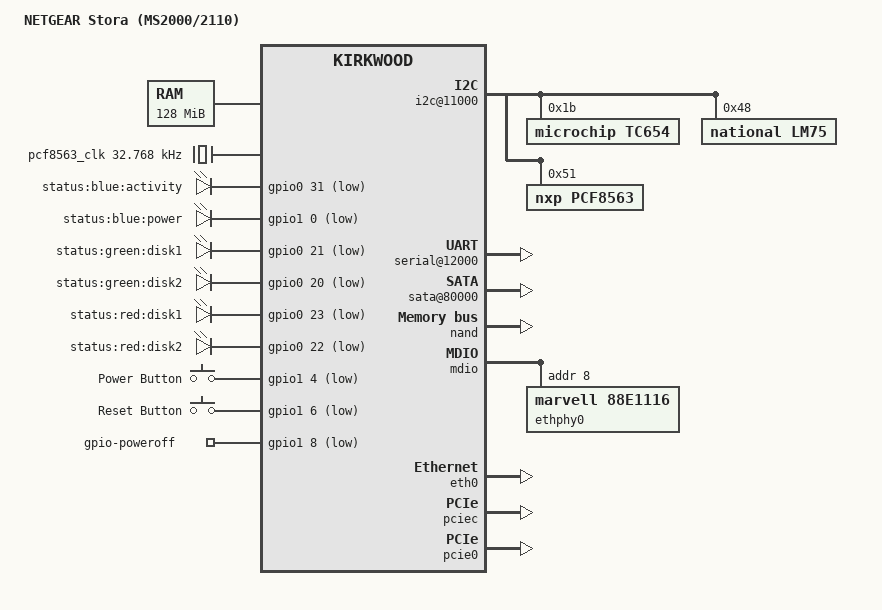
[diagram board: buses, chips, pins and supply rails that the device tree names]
/*
 * SPDX-License-Identifier: GPL-2.0-or-later
 *
 * Device tree file for the NETGEAR Stora MS2000 / MS2110 box.
 *
 * Copyright (c) 2016-2017, bodhi <mibodhi@gmail.com>
 * Copyright (c) 2021. Konstantin Ozerkov <ozerkovk@gmail.com>
 */

/dts-v1/;

#include "kirkwood.dtsi"
#include "kirkwood-6281.dtsi"

/ {
	model = "NETGEAR Stora (MS2000/2110)";
	compatible = "netgear,stora", "netgear,ms2000", "netgear,ms2110", "marvell,kirkwood-88f6281", "marvell,kirkwood";

	memory { /* 128 MB */
		device_type = "memory";
		reg = <0x00000000 0x8000000>;
	};

	chosen {
		bootargs = "console=ttyS0,115200n8 earlyprintk";
		stdout-path = &uart0;
	};

	ocp@f1000000 {
		pinctrl: pin-controller@10000 {
			pmx_button_power: pmx-button-power {
				marvell,pins = "mpp36";
				marvell,function = "gpio";
			};

			pmx_button_reset: pmx-button-reset {
				marvell,pins = "mpp38";
				marvell,function = "gpio";
			};

			pmx_led_blue_activity: pmx-led-blue-activity {
				marvell,pins = "mpp31";
				marvell,function = "gpio";
			};

			pmx_led_blue_power: pmx-led-blue-power {
				marvell,pins = "mpp32";
				marvell,function = "gpio";
			};

			pmx_led_green_disk1: pmx-led-green-disk1 {
				marvell,pins = "mpp21";
				marvell,function = "gpio";
			};

			pmx_led_green_disk2: pmx-led-green-disk2 {
				marvell,pins = "mpp20";
				marvell,function = "gpio";
			};

			pmx_led_red_disk1: pmx-led-red-disk1 {
				marvell,pins = "mpp23";
				marvell,function = "gpio";
			};

			pmx_led_red_disk2: pmx-led-red-disk2 {
				marvell,pins = "mpp22";
				marvell,function = "gpio";
			};

			pmx_poweroff: pmx-poweroff {
				marvell,pins = "mpp40";
				marvell,function = "gpio";
			};

			pmx_fan_tacho: pmx-fan-tacho {
				marvell,pins = "mpp41";
				marvell,function = "gpio";
			};
		};

		clocks {
			pcf8563_clk: pcf8563-oscillator {
				 compatible = "fixed-clock";
				 #clock-cells = <0>;
				 clock-frequency = <32768>;
			};
		};

		i2c@11000 {
			status = "okay";

			tc654@1b {
				compatible = "microchip,tc654";
				reg = <0x1b>;
			};

			lm75@48 {
				compatible = "national,lm75";
				reg = <0x48>;
			};

			pcf8563@51 {
				compatible = "nxp,pcf8563";
				reg = <0x51>;
			};
		};

		serial@12000 {
			status = "okay";
		};

		sata@80000 {
			status = "okay";
			phy-names = "port0", "port1";
			nr-ports = <2>;
		};
	};

	gpio-leds {
		compatible = "gpio-leds";
		pinctrl-0 = < &pmx_led_blue_activity
			      &pmx_led_blue_power
			      &pmx_led_green_disk1
			      &pmx_led_green_disk2
			      &pmx_led_red_disk1
			      &pmx_led_red_disk2 >;
		pinctrl-names = "default";

		activity_led {
			label = "status:blue:activity";
			gpios = <&gpio0 31 GPIO_ACTIVE_LOW>;
			linux,default-trigger = "default-on";
//			linux,default-trigger = "heartbeat";
		};

		power_led {
			label = "status:blue:power";
			gpios = <&gpio1 0 GPIO_ACTIVE_LOW>;
//			linux,default-trigger = "default-on";
		};

		disk1_led {
			label = "status:green:disk1";
			gpios = <&gpio0 21 GPIO_ACTIVE_LOW>;
			linux,default-trigger = "ata1";
		};

		disk2_led {
			label = "status:green:disk2";
			gpios = <&gpio0 20 GPIO_ACTIVE_LOW>;
			linux,default-trigger = "ata2";
		};

		disk1_fail_led {
			label = "status:red:disk1";
			gpios = <&gpio0 23 GPIO_ACTIVE_LOW>;
		};

		disk2_fail_led {
			label = "status:red:disk2";
			gpios = <&gpio0 22 GPIO_ACTIVE_LOW>;
		};
	};

	gpio-keys {
		compatible = "gpio-keys";
		pinctrl-0 = <&pmx_button_power &pmx_button_reset >;
		pinctrl-names = "default";

		power-button {
			label = "Power Button";
			linux,code = <KEY_POWER>;
			gpios = <&gpio1 4 GPIO_ACTIVE_LOW>;
		};

		reset-button {
			label = "Reset Button";
			linux,code = <KEY_RESTART>;
			gpios = <&gpio1 6 GPIO_ACTIVE_LOW>;
		};
	};

	gpio-poweroff {
		compatible = "gpio-poweroff";
		pinctrl-0 = <&pmx_poweroff>;
		pinctrl-names = "default";
		gpios = <&gpio1 8 GPIO_ACTIVE_LOW>;
	};
};

&nand {
	status = "okay";
	chip-delay = <40>;

	partition@0 {
		label = "u-boot";
		reg = <0x0000000 0x180000>;
		read-only;
	};

	partition@180000 {
		label = "u-boot-env";
		reg = <0x0180000 0x020000>;
	};

	partition@200000 {
		label = "ubi";
		reg = <0x0200000 0xfe00000>;
	};
};

&mdio {
	status = "okay";

	ethphy0: ethernet-phy@8 { /* Marvell 88E1116R */
		compatible = "marvell,88e1116";
		reg = <8>;
	};
};

&eth0 {
	status = "okay";

	ethernet0-port@0 {
		phy-handle = <&ethphy0>;
	};
};

&pciec {
        status = "okay";
};

&pcie0 {
	status = "okay";
};
